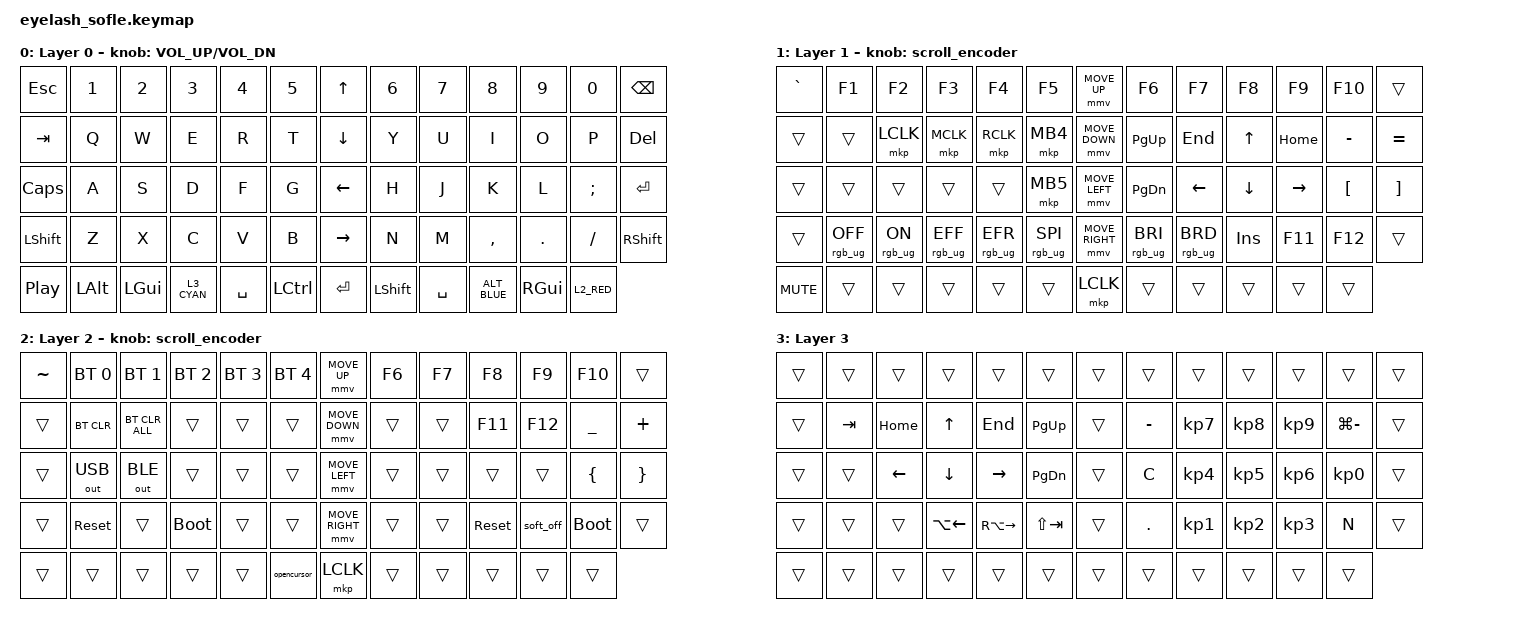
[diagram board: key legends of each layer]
#define ZMK_POINTING_DEFAULT_MOVE_VAL 1200  // 600
#define ZMK_POINTING_DEFAULT_SCRL_VAL 25   // 10

#include <input/processors.dtsi>
#include <zephyr/dt-bindings/input/input-event-codes.h>
#include <behaviors.dtsi>
#include <dt-bindings/zmk/bt.h>
#include <dt-bindings/zmk/keys.h>
#include <dt-bindings/zmk/outputs.h>
#include <dt-bindings/zmk/pointing.h>
#include <dt-bindings/zmk/rgb.h>

&mmv_input_listener { input-processors = <&zip_xy_scaler 2 1>; };

&msc_input_listener { input-processors = <&zip_scroll_scaler 2 1>; };

&msc {
    acceleration-exponent = <1>;      // 0
    time-to-max-speed-ms = <100>;       // 300
    delay-ms = <0>;                   // 0
};

&mmv {
    time-to-max-speed-ms = <500>;
    acceleration-exponent = <1>;
    trigger-period-ms = <16>;
};

/ {
    scroll_encoder: scroll_encoder {
        compatible = "zmk,behavior-sensor-rotate";
        #sensor-binding-cells = <0>;
        bindings = <&msc SCRL_DOWN>, <&msc SCRL_UP>;

        tap-ms = <100>;
    };

    behaviors {
    };

    macros {
        L3_CYAN: L1_CYAN {
            compatible = "zmk,behavior-macro";
            #binding-cells = <0>;
            wait-ms = <0>;
            tap-ms = <0>;
            bindings =
                <&macro_press>,
                <&mo 3>,
                <&macro_tap>,
                <&rgb_ug RGB_COLOR_HSB(180,100,100)>,
                <&macro_pause_for_release>,
                <&macro_release>,
                <&mo 3>,
                <&macro_tap>,
                <&rgb_ug RGB_COLOR_HSB(0,0,0)>;
        };

        L2_RED: L2_RED {
            compatible = "zmk,behavior-macro";
            #binding-cells = <0>;
            wait-ms = <0>;
            tap-ms = <0>;
            bindings =
                <&macro_press>,
                <&mo 2>,
                <&macro_tap>,
                <&rgb_ug RGB_COLOR_HSB(0,100,100)>,
                <&macro_pause_for_release>,
                <&macro_release>,
                <&mo 2>,
                <&macro_tap>,
                <&rgb_ug RGB_COLOR_HSB(0,0,0)>;
        };

        opencursor: openapp {
            compatible = "zmk,behavior-macro";
            #binding-cells = <0>;
            bindings =
                <&macro_press>,
                <&kp LEFT_GUI &kp SPACE>,
                <&macro_wait_time 50>,
                <&macro_release>,
                <&kp LEFT_GUI &kp SPACE>,
                <&macro_wait_time 150>,
                <&macro_tap>,
                <&kp W &kp SEMICOLON &kp J &kp S &kp E &kp J>,
                <&macro_wait_time 100>,
                <&macro_tap>,
                <&kp ENTER>;

            label = "OPENAPP";
            tap-ms = <10>;
        };

        ALT_BLUE: ALT_BLUE {
            compatible = "zmk,behavior-macro";
            #binding-cells = <0>;
            wait-ms = <0>;
            tap-ms = <0>;
            bindings =
                <&macro_press>,
                <&kp RIGHT_ALT>,
                <&macro_tap>,
                <&rgb_ug RGB_COLOR_HSB(217,79,49)>,
                <&macro_pause_for_release>,
                <&macro_release>,
                <&kp RIGHT_ALT>,
                <&macro_tap>,
                <&rgb_ug RGB_COLOR_HSB(0,0,0)>;

            label = "ALT_BLUE";
        };
    };

    combos {
        compatible = "zmk,combos";

        layer_1 {
            bindings = <&mo 1>;
            key-positions = <55 61>;
        };
    };

    keymap {
        compatible = "zmk,keymap";

        layer_0 {
            bindings = <
&kp ESC           &kp N1        &kp N2        &kp N3    &kp N4     &kp N5              &kp UP_ARROW     &kp N6          &kp N7     &kp N8     &kp N9         &kp N0    &kp BACKSPACE
&kp TAB           &kp Q         &kp W         &kp E     &kp R      &kp T               &kp DOWN_ARROW   &kp Y           &kp U      &kp I      &kp O          &kp P     &kp DEL
&kp CAPS          &kp A         &kp S         &kp D     &kp F      &kp G               &kp LEFT_ARROW   &kp H           &kp J      &kp K      &kp L          &kp SEMI  &kp RET
&kp LSHFT         &kp Z         &kp X         &kp C     &kp V      &kp B               &kp RIGHT_ARROW  &kp N           &kp M      &kp COMMA  &kp DOT        &kp FSLH  &kp RSHIFT
&kp C_PLAY_PAUSE  &kp LEFT_ALT  &kp LEFT_GUI  &L3_CYAN  &kp SPACE  &kp LEFT_CONTROL    &kp ENTER        &kp LEFT_SHIFT  &kp SPACE  &ALT_BLUE  &kp RIGHT_GUI  &L2_RED
            >;

            sensor-bindings = <&inc_dec_kp C_VOLUME_UP C_VOL_DN>;
            display-name = "Layer 0";
        };

        layer_1 {
            bindings = <
&kp GRAVE   &kp F1           &kp F2          &kp F3           &kp F4           &kp F5             &mmv MOVE_UP     &kp F6           &kp F7           &kp F8      &kp F9     &kp F10           &trans
&trans      &trans           &mkp LCLK       &mkp MCLK        &mkp RCLK        &mkp MB4           &mmv MOVE_DOWN   &kp PG_UP        &kp END          &kp UP      &kp HOME   &kp MINUS         &kp EQUAL
&trans      &trans           &trans          &trans           &trans           &mkp MB5           &mmv MOVE_LEFT   &kp PG_DN        &kp LEFT         &kp DOWN    &kp RIGHT  &kp LEFT_BRACKET  &kp RIGHT_BRACKET
&trans      &rgb_ug RGB_OFF  &rgb_ug RGB_ON  &rgb_ug RGB_EFF  &rgb_ug RGB_EFR  &rgb_ug RGB_SPI    &mmv MOVE_RIGHT  &rgb_ug RGB_BRI  &rgb_ug RGB_BRD  &kp INSERT  &kp F11    &kp F12           &trans
&kp C_MUTE  &trans           &trans          &trans           &trans           &trans             &mkp LCLK        &trans           &trans           &trans      &trans     &trans
            >;

            display-name = "Layer 1";
            sensor-bindings = <&scroll_encoder>;
        };

        layer_2 {
            bindings = <
&kp TILDE  &bt BT_SEL 0  &bt BT_SEL 1    &bt BT_SEL 2  &bt BT_SEL 3  &bt BT_SEL 4    &mmv MOVE_UP     &kp F6  &kp F7  &kp F8      &kp F9     &kp F10      &trans
&trans     &bt BT_CLR    &bt BT_CLR_ALL  &trans        &trans        &trans          &mmv MOVE_DOWN   &trans  &trans  &kp F11     &kp F12    &kp UNDER    &kp PLUS
&trans     &out OUT_USB  &out OUT_BLE    &trans        &trans        &trans          &mmv MOVE_LEFT   &trans  &trans  &trans      &trans     &kp LBRC     &kp RBRC
&trans     &sys_reset    &trans          &bootloader   &trans        &trans          &mmv MOVE_RIGHT  &trans  &trans  &sys_reset  &soft_off  &bootloader  &trans
&trans     &trans        &trans          &trans        &trans        &opencursor     &mkp LCLK        &trans  &trans  &trans      &trans     &trans
            >;

            sensor-bindings = <&scroll_encoder>;
            label = "Layer 2";
        };

        layer_3 {
            bindings = <
&trans  &trans   &trans    &trans        &trans         &trans           &trans  &trans     &trans           &trans           &trans           &trans           &trans
&trans  &kp TAB  &kp HOME  &kp UP        &kp END        &kp PAGE_UP      &trans  &kp MINUS  &kp KP_NUMBER_7  &kp KP_NUMBER_8  &kp KP_NUMBER_9  &kp LG(MINUS)    &trans
&trans  &trans   &kp LEFT  &kp DOWN      &kp RIGHT      &kp PAGE_DOWN    &trans  &kp C      &kp KP_NUMBER_4  &kp KP_NUMBER_5  &kp KP_NUMBER_6  &kp KP_NUMBER_0  &trans
&trans  &trans   &trans    &kp LA(LEFT)  &kp RA(RIGHT)  &kp LS(TAB)      &trans  &kp DOT    &kp KP_NUMBER_1  &kp KP_NUMBER_2  &kp KP_NUMBER_3  &kp N            &trans
&trans  &trans   &trans    &trans        &trans         &trans           &trans  &trans     &trans           &trans           &trans           &trans
            >;

            label = "Layer 3";
        };
    };
};
